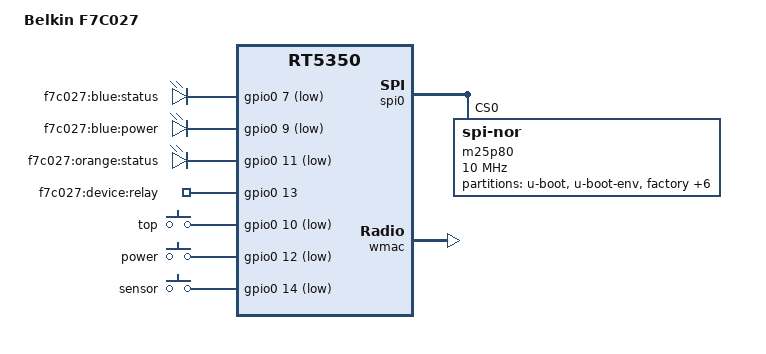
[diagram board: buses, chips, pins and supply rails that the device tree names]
/dts-v1/;

#include "rt5350.dtsi"

/ {
	compatible = "F7C027", "ralink,rt5350-soc";
	model = "Belkin F7C027";

	gpio-leds {
		compatible = "gpio-leds";

		status {
			label = "f7c027:blue:status";
			gpios = <&gpio0 7 1>;
		};

		power {
			label = "f7c027:blue:power";
			gpios = <&gpio0 9 1>;
		};

		orange {
			label = "f7c027:orange:status";
			gpios = <&gpio0 11 1>;
		};

		relay {
			label = "f7c027:device:relay";
			gpios = <&gpio0 13 0>;
		};
	};

	gpio-keys-polled {
		compatible = "gpio-keys-polled";
		#address-cells = <1>;
		#size-cells = <0>;
		poll-interval = <20>;

		top {
			label = "top";
			gpios = <&gpio0 10 1>;
			linux,code = <0x198>;
		};

		power {
			label = "power";
			gpios = <&gpio0 12 1>;
			linux,code = <0x100>;
		};

		sensor {
			label = "sensor";
			gpios = <&gpio0 14 1>;
			linux,code = <0x101>;
		};
	};
};

&spi0 {
	status = "okay";

	m25p80@0 {
		#address-cells = <1>;
		#size-cells = <1>;
		compatible = "jedec,spi-nor";
		reg = <0>;
		linux,modalias = "m25p80", "mx25l12805d";
		spi-max-frequency = <10000000>;

		partition@0 {
			label = "u-boot";
			reg = <0x0 0x30000>;
			read-only;
		};

		partition@30000 {
			label = "u-boot-env";
			reg = <0x30000 0x10000>;
			read-only;
		};

		factory: partition@40000 {
			label = "factory";
			reg = <0x40000 0x10000>;
			read-only;
		};

		partition@50000 {
			label = "firmware";
			reg = <0x50000 0x770000>;
		};

		partition@7c0000 {
			label = "firmware2";
			reg = <0x7c0000 0x770000>;
		};

		partition@f30000 {
			label = "belkin_settings";
			reg = <0xf30000 0xa0000>;
		};

		partition@fd0000 {
			label = "unknown";
			reg = <0xfd0000 0x10000>;
		};

		partition@fe0000 {
			label = "nvram";
			reg = <0xfe0000 0x10000>;
		};

		partition@ff0000 {
			label = "user_factory";
			reg = <0xff0000 0x10000>;
		};
	};
};

&wmac {
	ralink,mtd-eeprom = <&factory 0>;
};

&pinctrl {
	state_default: pinctrl0 {
		gpio {
			ralink,group = "i2c", "jtag", "uartf";
			ralink,function = "gpio";
		};
	};
};
